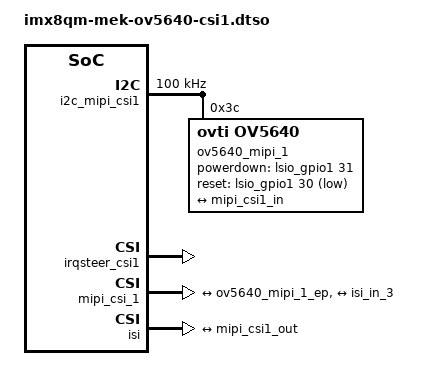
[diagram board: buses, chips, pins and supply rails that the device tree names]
// SPDX-License-Identifier: (GPL-2.0+ OR MIT)
/*
 * Copyright 2024 NXP
 */
/dts-v1/;
/plugin/;

#include <dt-bindings/gpio/gpio.h>

&i2c_mipi_csi1 {
	#address-cells = <1>;
	#size-cells = <0>;
	pinctrl-names = "default";
	pinctrl-0 = <&pinctrl_i2c_mipi_csi1>;
	clock-frequency = <100000>;
	status = "okay";

	ov5640_mipi_1: ov5640_mipi@3c {
		compatible = "ovti,ov5640";
		reg = <0x3c>;
		pinctrl-names = "default";
		pinctrl-0 = <&pinctrl_mipi_csi1>;
		clocks = <&xtal24m>;
		clock-names = "xclk";
		powerdown-gpios = <&lsio_gpio1 31 GPIO_ACTIVE_HIGH>;
		reset-gpios = <&lsio_gpio1 30 GPIO_ACTIVE_LOW>;
		status = "okay";

		port {
			ov5640_mipi_1_ep: endpoint {
				remote-endpoint = <&mipi_csi1_in>;
				data-lanes = <1 2>;
				clocks-lanes = <0>;
			};
		};
	};
};

&irqsteer_csi1 {
	status = "okay";
};

&mipi_csi_1 {
	status = "okay";

	ports {
		#address-cells = <1>;
		#size-cells = <0>;

		port@0 {
			reg = <0>;

			mipi_csi1_in: endpoint {
				remote-endpoint = <&ov5640_mipi_1_ep>;
				data-lanes = <1 2>;
			};
		};

		port@1 {
			reg = <1>;

			mipi_csi1_out: endpoint {
				remote-endpoint = <&isi_in_3>;
			};
		};
	};
};

&isi {
	status = "okay";

	ports {
		#address-cells = <1>;
		#size-cells = <0>;

		port@3 {
			reg = <3>;

			isi_in_3: endpoint {
				remote-endpoint = <&mipi_csi1_out>;
			};
		};
	};
};
